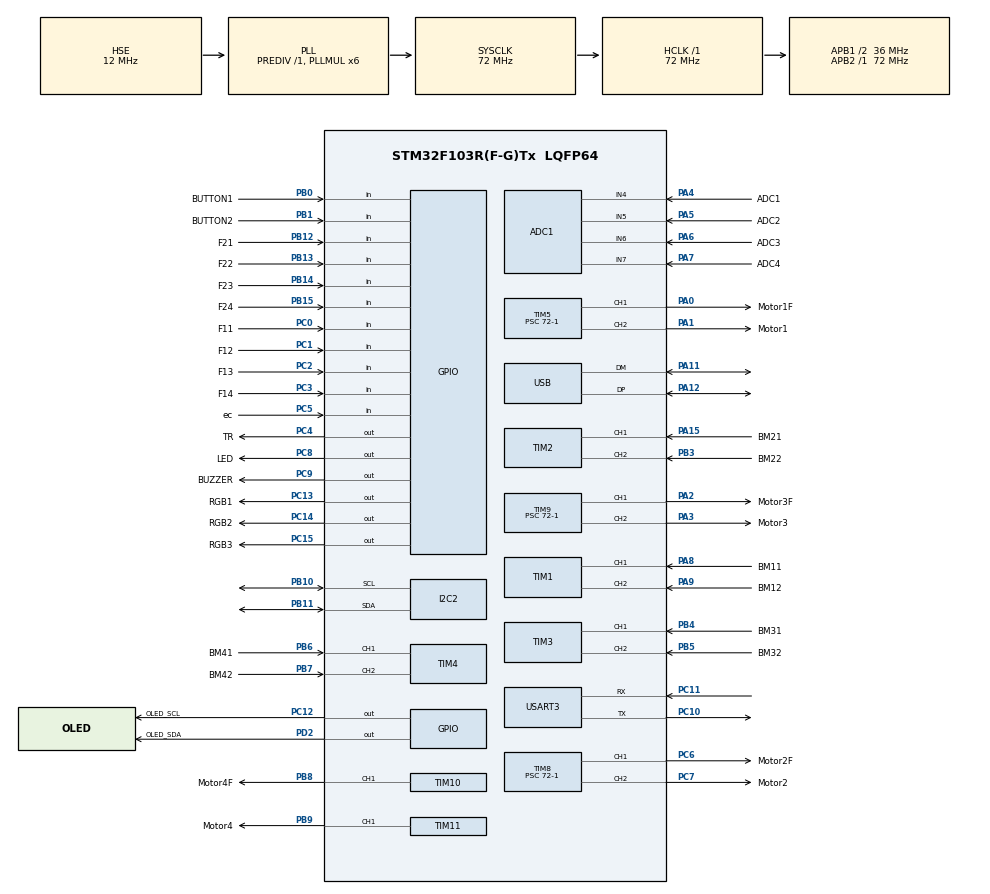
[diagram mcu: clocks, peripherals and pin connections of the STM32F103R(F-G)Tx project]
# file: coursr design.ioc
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ADC1.Channel-5\#ChannelRegularConversion=ADC_CHANNEL_5
ADC1.NbrOfConversionFlag=1
ADC1.Rank-5\#ChannelRegularConversion=1
ADC1.SamplingTime-5\#ChannelRegularConversion=ADC_SAMPLETIME_1CYCLE_5
ADC1.master=1
I2C2.I2C_Mode=I2C_Fast
Mcu.Family=STM32F1
Mcu.Name=STM32F103R(F-G)Tx
Mcu.Package=LQFP64
NVIC.PriorityGroup=NVIC_PRIORITYGROUP_4
NVIC.TIM8_TRG_COM_TIM14_IRQn=true\:0\:0\:false\:false\:true\:true\:true\:true
NVIC.TIM8_UP_TIM13_IRQn=true\:0\:0\:false\:false\:true\:true\:true\:true
PA0-WKUP.GPIO_Label=Motor1F
PA0-WKUP.GPIO_Speed=GPIO_SPEED_FREQ_HIGH
PA0-WKUP.Signal=S_TIM5_CH1
PA1.GPIO_Label=Motor1
PA1.GPIO_Speed=GPIO_SPEED_FREQ_HIGH
PA1.Signal=S_TIM5_CH2
PA11.Mode=Device
PA11.Signal=USB_DM
PA12.Mode=Device
PA12.Signal=USB_DP
PA13.Mode=Serial_Wire
PA13.Signal=SYS_JTMS-SWDIO
PA14.Mode=Serial_Wire
PA14.Signal=SYS_JTCK-SWCLK
PA15.GPIO_Label=BM21
PA15.Signal=S_TIM2_CH1_ETR
PA2.GPIO_Label=Motor3F
PA2.GPIO_Speed=GPIO_SPEED_FREQ_HIGH
PA2.Signal=S_TIM9_CH1
PA3.GPIO_Label=Motor3
PA3.GPIO_Speed=GPIO_SPEED_FREQ_HIGH
PA3.Signal=S_TIM9_CH2
PA4.GPIO_Label=ADC1
PA4.Signal=ADCx_IN4
PA5.GPIO_Label=ADC2
PA5.Signal=ADCx_IN5
PA6.GPIO_Label=ADC3
PA6.Signal=ADCx_IN6
PA7.GPIO_Label=ADC4
PA7.Signal=ADCx_IN7
PA8.GPIO_Label=BM11
PA8.Signal=S_TIM1_CH1
PA9.GPIO_Label=BM12
PA9.Signal=S_TIM1_CH2
PB0.GPIO_Label=BUTTON1
PB0.GPIO_PuPd=GPIO_PULLUP
PB0.Signal=GPIO_Input
PB1.GPIO_Label=BUTTON2
PB1.GPIO_PuPd=GPIO_PULLUP
PB1.Signal=GPIO_Input
PB10.Mode=I2C
PB10.Signal=I2C2_SCL
PB11.Mode=I2C
PB11.Signal=I2C2_SDA
PB12.GPIO_Label=F21
PB12.Signal=GPIO_Input
PB13.GPIO_Label=F22
PB13.Signal=GPIO_Input
PB14.GPIO_Label=F23
PB14.Signal=GPIO_Input
PB15.GPIO_Label=F24
PB15.Signal=GPIO_Input
PB3.GPIO_Label=BM22
PB3.Signal=S_TIM2_CH2
PB4.GPIO_Label=BM31
PB4.Signal=S_TIM3_CH1
PB5.GPIO_Label=BM32
PB5.Signal=S_TIM3_CH2
PB6.GPIO_Label=BM41
PB6.Signal=S_TIM4_CH1
PB7.GPIO_Label=BM42
PB7.Signal=S_TIM4_CH2
PB8.GPIO_Label=Motor4F
PB8.GPIO_Speed=GPIO_SPEED_FREQ_HIGH
PB8.Signal=S_TIM10_CH1
PB9.GPIO_Label=Motor4
PB9.GPIO_Speed=GPIO_SPEED_FREQ_HIGH
PB9.Signal=S_TIM11_CH1
PC0.GPIO_Label=F11
PC0.Signal=GPIO_Input
PC1.GPIO_Label=F12
PC1.Signal=GPIO_Input
PC10.Mode=Asynchronous
PC10.Signal=USART3_TX
PC11.Mode=Asynchronous
PC11.Signal=USART3_RX
PC12.GPIO_Label=OLED_SCL
PC12.GPIO_ModeDefaultOutputPP=GPIO_MODE_OUTPUT_OD
PC12.GPIO_PuPd=GPIO_NOPULL
PC12.Signal=GPIO_Output
PC13-TAMPER-RTC.GPIO_Label=RGB1
PC13-TAMPER-RTC.PinState=GPIO_PIN_SET
PC13-TAMPER-RTC.Signal=GPIO_Output
PC14-OSC32_IN.GPIO_Label=RGB2
PC14-OSC32_IN.PinState=GPIO_PIN_SET
PC14-OSC32_IN.Signal=GPIO_Output
PC15-OSC32_OUT.GPIO_Label=RGB3
PC15-OSC32_OUT.PinState=GPIO_PIN_SET
PC15-OSC32_OUT.Signal=GPIO_Output
PC2.GPIO_Label=F13
PC2.Signal=GPIO_Input
PC3.GPIO_Label=F14
PC3.Signal=GPIO_Input
PC4.GPIO_Label=TR
PC4.Signal=GPIO_Output
PC5.GPIO_Label=ec
PC5.Signal=GPIO_Input
PC6.GPIO_Label=Motor2F
PC6.GPIO_Speed=GPIO_SPEED_FREQ_HIGH
PC6.Signal=S_TIM8_CH1
PC7.GPIO_Label=Motor2
PC7.GPIO_Speed=GPIO_SPEED_FREQ_HIGH
PC7.Signal=S_TIM8_CH2
PC8.GPIO_Label=LED
PC8.Signal=GPIO_Output
PC9.GPIO_Label=BUZZER
PC9.Signal=GPIO_Output
PD0-OSC_IN.Mode=HSE-External-Oscillator
PD0-OSC_IN.Signal=RCC_OSC_IN
PD1-OSC_OUT.Mode=HSE-External-Oscillator
PD1-OSC_OUT.Signal=RCC_OSC_OUT
PD2.GPIO_Label=OLED_SDA
PD2.GPIO_ModeDefaultOutputPP=GPIO_MODE_OUTPUT_OD
PD2.GPIO_PuPd=GPIO_NOPULL
PD2.Signal=GPIO_Output
ProjectManager.HeapSize=0x200
ProjectManager.StackSize=0x400
ProjectManager.TargetToolchain=MDK-ARM V5.32
RCC.ADCPresc=RCC_ADCPCLK2_DIV6
RCC.AHBFreq_Value=72000000
RCC.APB1CLKDivider=RCC_HCLK_DIV2
RCC.APB1Freq_Value=36000000
RCC.APB1TimFreq_Value=72000000
RCC.APB2Freq_Value=72000000
RCC.APB2TimFreq_Value=72000000
RCC.HCLKFreq_Value=72000000
RCC.HSE_VALUE=12000000
RCC.PLLMUL=RCC_PLL_MUL6
RCC.SYSCLKFreq_VALUE=72000000
RCC.SYSCLKSource=RCC_SYSCLKSOURCE_PLLCLK
RCC.USBFreq_Value=48000000
RCC.USBPrescaler=RCC_USBCLKSOURCE_PLL_DIV1_5
SH.ADCx_IN4.0=ADC1_IN4,IN4
SH.ADCx_IN5.0=ADC1_IN5,IN5
SH.ADCx_IN6.0=ADC1_IN6,IN6
SH.ADCx_IN7.0=ADC1_IN7,IN7
SH.S_TIM10_CH1.0=TIM10_CH1,PWM Generation1 CH1
SH.S_TIM11_CH1.0=TIM11_CH1,PWM Generation1 CH1
SH.S_TIM1_CH1.0=TIM1_CH1,Encoder_Interface
SH.S_TIM1_CH2.0=TIM1_CH2,Encoder_Interface
SH.S_TIM2_CH1_ETR.0=TIM2_CH1,Encoder_Interface
SH.S_TIM2_CH2.0=TIM2_CH2,Encoder_Interface
SH.S_TIM3_CH1.0=TIM3_CH1,Encoder_Interface
SH.S_TIM3_CH2.0=TIM3_CH2,Encoder_Interface
SH.S_TIM4_CH1.0=TIM4_CH1,Encoder_Interface
SH.S_TIM4_CH2.0=TIM4_CH2,Encoder_Interface
SH.S_TIM5_CH1.0=TIM5_CH1,PWM Generation1 CH1
SH.S_TIM5_CH2.0=TIM5_CH2,PWM Generation2 CH2
SH.S_TIM8_CH1.0=TIM8_CH1,PWM Generation1 CH1
SH.S_TIM8_CH2.0=TIM8_CH2,PWM Generation2 CH2
SH.S_TIM9_CH1.0=TIM9_CH1,PWM Generation1 CH1
SH.S_TIM9_CH2.0=TIM9_CH2,PWM Generation2 CH2
TIM10.Channel=TIM_CHANNEL_1
TIM10.Period=1000-1
TIM10.Prescaler=72-1
TIM11.Channel=TIM_CHANNEL_1
TIM11.Period=1000-1
TIM11.Prescaler=72-1
TIM13.Period=10000-1
TIM13.Prescaler=72-1
TIM5.Channel-PWM\ Generation1\ CH1=TIM_CHANNEL_1
TIM5.Channel-PWM\ Generation2\ CH2=TIM_CHANNEL_2
TIM5.Period=1000-1
TIM5.Prescaler=72-1
TIM8.Channel-PWM\ Generation1\ CH1=TIM_CHANNEL_1
TIM8.Channel-PWM\ Generation2\ CH2=TIM_CHANNEL_2
TIM8.Period=1000-1
TIM8.Prescaler=72-1
TIM9.Channel-PWM\ Generation1\ CH1=TIM_CHANNEL_1
TIM9.Channel-PWM\ Generation2\ CH2=TIM_CHANNEL_2
TIM9.Period=1000-1
TIM9.Prescaler=72-1
USART3.VirtualMode=VM_ASYNC
VP_TIM10_VS_ClockSourceINT.Mode=Enable_Timer
VP_TIM11_VS_ClockSourceINT.Mode=Enable_Timer
VP_TIM13_VS_ClockSourceINT.Mode=Enable_Timer
board=custom

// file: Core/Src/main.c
/* USER CODE BEGIN Header */
/**
  ******************************************************************************
  * @file           : main.c
  * @brief          : Main program body
  ******************************************************************************
  * @attention
  *
  * Copyright (c) 2025 STMicroelectronics.
  * All rights reserved.
  *
  * This software is licensed under terms that can be found in the LICENSE file
  * in the root directory of this software component.
  * If no LICENSE file comes with this software, it is provided AS-IS.
  *
  ******************************************************************************
  */
/* USER CODE END Header */
#include "main.h"

/* USER CODE BEGIN Includes */
#include "OLED.h"
#include "OLEDMenu.h"
#include "MotorClass.h"
#include "colorRe.h"
#include "rgb.h"
#include "button.h"
#include "trailing.h"
#include "project_exit.h"

/* USER CODE END Includes */

/* USER CODE BEGIN PTD */
void task_trailing_1straight(void);
void task_trailing_2straight(void);
void task_turn_left(void);
void task_turn_back(void);
typedef enum {
    STATE_WAIT_SW1,
    STATE_WAIT_GREEN,
    STATE_MOVING,
	STATE_TURNTOLEFT,
    STATE_TURNBACK,
    STATE_WAIT_RED,
    STATE_RETURNING,
	  STATE_OVER
} DeliveryState;
/* USER CODE END PTD */

ADC_HandleTypeDef hadc1;

I2C_HandleTypeDef hi2c2;

TIM_HandleTypeDef htim1;
TIM_HandleTypeDef htim2;
TIM_HandleTypeDef htim3;
TIM_HandleTypeDef htim4;
TIM_HandleTypeDef htim5;
TIM_HandleTypeDef htim8;
TIM_HandleTypeDef htim9;
TIM_HandleTypeDef htim10;
TIM_HandleTypeDef htim11;
TIM_HandleTypeDef htim13;

UART_HandleTypeDef huart3;

PCD_HandleTypeDef hpcd_USB_FS;

/* USER CODE BEGIN PV */
DeliveryState deliveryState = STATE_WAIT_SW1;
static double __time = 0;

static uint8_t green_blink_flag = 0;  // 闪烁状态标志
static double blink_timer = 0;        // 闪烁计时器
static uint8_t errorleft = 0;
/* USER CODE END PV */

void SystemClock_Config(void);
static void MX_GPIO_Init(void);
static void MX_ADC1_Init(void);
static void MX_I2C2_Init(void);
static void MX_TIM1_Init(void);
static void MX_TIM2_Init(void);
static void MX_TIM3_Init(void);
static void MX_TIM4_Init(void);
static void MX_TIM5_Init(void);
static void MX_TIM8_Init(void);
static void MX_TIM9_Init(void);
static void MX_TIM10_Init(void);
static void MX_TIM11_Init(void);
static void MX_USART3_UART_Init(void);
static void MX_USB_PCD_Init(void);
static void MX_TIM13_Init(void);

/* USER CODE BEGIN 0 */
void motorlist_init(MotorClass * motorlist[4])
{
	MotorClass ** motorlist_it = motorlist;
	MotorClass * motor1 = *motorlist_it;motorlist_it++;
	MotorClass * motor2 = *motorlist_it;motorlist_it++;
	MotorClass * motor3 = *motorlist_it;motorlist_it++;
	MotorClass * motor4 = *motorlist_it;
	motorlist_it = motorlist;
	*motorlist_it = motor1;motorlist_it++;
	*motorlist_it = motor2;motorlist_it++;
	*motorlist_it = motor3;motorlist_it++;
	*motorlist_it = motor4;
	motor_init(motorlist);

	motor1->kP = 0.9f;
	motor1->kI = 0.0f;
	motor1->kD = 0.2f;
	motor1->arr = 1000;
	motor1->motor_tim_1 = &htim5;
	motor1->motor_tim_ch_1 = TIM_CHANNEL_1;
	motor1->motor_tim_2 = &htim5;
	motor1->motor_tim_ch_2 = TIM_CHANNEL_2;
	motor1->motor_encoder_tim = &htim1;

	motor2->kP = 0.8f;
	motor2->kI = 0.0f;
	motor2->kD = 0.3f;
	motor2->arr = 1000;
	motor2->motor_tim_1 = &htim8;
	motor2->motor_tim_ch_1 = TIM_CHANNEL_1;
	motor2->motor_tim_2 = &htim8;
	motor2->motor_tim_ch_2 = TIM_CHANNEL_2;
	motor2->motor_encoder_tim = &htim2;

	motor3->kP = 0.8f;
	motor3->kI = 0.0f;
	motor3->kD = 0.1f;
	motor3->arr = 1000;
	motor3->motor_tim_1 = &htim9;
	motor3->motor_tim_ch_1 = TIM_CHANNEL_1;
	motor3->motor_tim_2 = &htim9;
	motor3->motor_tim_ch_2 = TIM_CHANNEL_2;
	motor3->motor_encoder_tim = &htim3;

	motor4->kP = 0.98f;
	motor4->kI = 0.01f;
	motor4->kD = 0.2f;
	motor4->arr = 1000;
	motor4->motor_tim_1 = &htim10;
	motor4->motor_tim_ch_1 = TIM_CHANNEL_1;
	motor4->motor_tim_2 = &htim11;
	motor4->motor_tim_ch_2 = TIM_CHANNEL_1;
	motor4->motor_encoder_tim = &htim4;

}

CarClass car;

	MotorClass motor1;
	MotorClass motor2;
	MotorClass motor3;
	MotorClass motor4;

//电机迭代器
	MotorClass ** motorlist_it;
	MotorClass * motorlist[4] = {&motor1,&motor2,&motor3,&motor4};

	float target_speed[4] = {5,5,-5,-5};

	TrailingClass pathFinding1;
	TrailingClass pathFinging2;

	ButtonClass button_1;
	ButtonState button_1_state = Button_Pressed;

	uint8_t max(uint8_t a,uint8_t b)
	{
		return a > b?a:b;
	}

/* USER CODE END 0 */

int main(void)
{

  /* MCU Configuration--------------------------------------------------------*/

  /* Reset of all peripherals, Initializes the Flash interface and the Systick. */
  HAL_Init();

  /* Configure the system clock */
  SystemClock_Config();

  /* Initialize all configured peripherals */
  MX_GPIO_Init();
  MX_ADC1_Init();
  MX_I2C2_Init();
  MX_TIM1_Init();
  MX_TIM2_Init();
  MX_TIM3_Init();
  MX_TIM4_Init();
  MX_TIM5_Init();
  MX_TIM8_Init();
  MX_TIM9_Init();
  MX_TIM10_Init();
  MX_TIM11_Init();
  MX_USART3_UART_Init();
  MX_USB_PCD_Init();
  MX_TIM13_Init();
  /* USER CODE BEGIN 2 */
  HAL_Delay(200);
  HAL_TIM_PWM_Start(&htim5,TIM_CHANNEL_1);
  HAL_TIM_PWM_Start(&htim5,TIM_CHANNEL_2);
  HAL_TIM_PWM_Start(&htim8,TIM_CHANNEL_1);
  HAL_TIM_PWM_Start(&htim8,TIM_CHANNEL_2);
  HAL_TIM_PWM_Start(&htim9,TIM_CHANNEL_1);
  HAL_TIM_PWM_Start(&htim9,TIM_CHANNEL_2);
  HAL_TIM_PWM_Start(&htim10,TIM_CHANNEL_1);
  HAL_TIM_PWM_Start(&htim11,TIM_CHANNEL_1);

  HAL_TIM_Encoder_Start(&htim1,TIM_CHANNEL_1);
  HAL_TIM_Encoder_Start(&htim1,TIM_CHANNEL_2);
  HAL_TIM_Encoder_Start(&htim2,TIM_CHANNEL_1);
  HAL_TIM_Encoder_Start(&htim2,TIM_CHANNEL_2);
  HAL_TIM_Encoder_Start(&htim3,TIM_CHANNEL_2);
  HAL_TIM_Encoder_Start(&htim3,TIM_CHANNEL_1);
  HAL_TIM_Encoder_Start(&htim4,TIM_CHANNEL_1);
  HAL_TIM_Encoder_Start(&htim4,TIM_CHANNEL_2);

	HAL_GPIO_WritePin(RGB1_GPIO_Port,RGB1_Pin|RGB2_Pin|RGB3_Pin,GPIO_PIN_SET);
	OLED_Init(&hi2c2);

	//初始化4电机
	trailing_init(&pathFinding1,GPIOB,GPIO_PIN_12,GPIOB,GPIO_PIN_13,GPIOB,GPIO_PIN_14,GPIOB,GPIO_PIN_15);
	trailing_init(&pathFinging2,GPIOC,GPIO_PIN_0,GPIOC,GPIO_PIN_1,GPIOC,GPIO_PIN_2,GPIOC,GPIO_PIN_3);
	motorlist_init(motorlist);

	//电机设定速度

	OLED_ShowWelcomeMenu(&hi2c2);
	HAL_Delay(1000);
	OLED_Clear(&hi2c2);

	car.Vw = 0;
	car.Vx = 0;
	car.Vy = 0;

	CarClass car_result;
	TCS34725_Init(&hi2c2);
	TCS34725_Enable(&hi2c2);
	COLOR_RGBC rgb;
	button_init(&button_1,BUTTON1_GPIO_Port,BUTTON1_Pin,1000);
//	button_1.button_pin = ;
//	button_1.button_port = ;

	HAL_TIM_Base_Start_IT(&htim13);

	RGBClass LED; // 声明RGB对象
    RGB_init(&LED,RGB1_GPIO_Port,RGB1_Pin,RGB2_GPIO_Port,RGB2_Pin,RGB3_GPIO_Port,RGB3_Pin);

	for(int i=0; i<6; i++){
        HAL_GPIO_TogglePin(BUZZER_GPIO_Port,BUZZER_Pin);
		HAL_Delay(100);
    }

    double _time = 0;
    static uint8_t middleline_times = 0;

  /* USER CODE END 2 */

  /* Infinite loop */
  while (1)
  {

    /* USER CODE BEGIN 3 */
	 switch (deliveryState) {
		 case STATE_WAIT_SW1:
		{
			OLED_ShowWelcomeMenu(&hi2c2);
		}
			break;
		 case STATE_WAIT_GREEN:
		 {
			 if(TCS34725_GetRawData(&hi2c2,&rgb))
			 {
					uint8_t max_color = max(max(rgb.r,rgb.g),rgb.b);
					if(max_color > 200){
					if(max_color == rgb.g)
					{
							LED.rgb_light = GREEN_LIGHT; // 设置颜色为绿色
							LED.setRGB(&LED);
							//设置rgb颜色为绿色
						deliveryState = STATE_MOVING;
					}
				 }
			 }
		 }
			break;
		 case STATE_MOVING:
		 {
			 if(__time - blink_timer > 0.2)
				{
        green_blink_flag = !green_blink_flag;
        blink_timer = __time;
        // 设置闪烁效果
        if(green_blink_flag) {

          LED.rgb_light = GREEN_LIGHT;
        }
				else
				{
          LED.rgb_light = 7;
        }
        LED.setRGB(&LED);
       }
			if ((pathFinding1.x1_state == 0 && pathFinding1.x2_state == 0 && pathFinding1.x3_state == 0 )||(pathFinding1.x1_state == 0 && pathFinding1.x2_state == 0 && pathFinding1.x4_state == 0 )||(pathFinding1.x1_state == 0 && pathFinding1.x4_state == 0 && pathFinding1.x3_state == 0 )
		           ||(pathFinding1.x4_state == 0 && pathFinding1.x2_state == 0 && pathFinding1.x3_state == 0 )||(pathFinding1.x1_state == 0 && pathFinding1.x2_state == 0 && pathFinding1.x3_state == 0 && pathFinding1.x4_state == 0))
			{

				car.Vw = 0;
				car.Vx = 0;
				car.Vy = 0;

				if( middleline_times == 0)
				{
					car.Vw = 0;
				  car.Vx = 10;
			  	car.Vy = 0;
				  _time = __time;
				  while(__time < _time+0.5);
					deliveryState = STATE_MOVING;
					middleline_times = 1;
				}
				else if(middleline_times < 5)
				{
					car.Vw = 0;
				  car.Vx = 10;
			  	car.Vy = 0;
				  _time = __time;
				  while(__time < _time+0.5);
					car.Vw = 0;
				  car.Vx = 0;
			  	car.Vy = 0;
				  _time = __time;
				  while(__time < _time+0.3);
					middleline_times += 1;

					deliveryState = STATE_TURNTOLEFT;
				}
				else if(middleline_times == 5)
				{
					deliveryState = STATE_RETURNING;
					middleline_times = 0;
				}
			}
			else if (get_distance_cm_nT(TR_GPIO_Port,TR_Pin) <= 10 )
			{
				car.Vw = 0;
				car.Vx = 0;
				car.Vy = 0;
				deliveryState = STATE_WAIT_RED;
			}
			else
              task_trailing_1straight();
         }
			break;
    case STATE_TURNTOLEFT:
    {
			LED.rgb_light = MAGENTA_LIGHT;
      LED.setRGB(&LED);
      task_turn_left();
    }
      break;
    case STATE_WAIT_RED:
    {
      LED.rgb_light = RED_LIGHT;
      LED.setRGB(&LED);
      if(TCS34725_GetRawData(&hi2c2,&rgb))
      {
        uint8_t max_color = max(max(rgb.r,rgb.g),rgb.b);
        if(max_color > 200){
          if(max_color == rgb.r)
          {
            LED.rgb_light = YELLOW_LIGHT;
            LED.setRGB(&LED);
            deliveryState = STATE_TURNBACK;
          }
        }
      }
    }
      break;
    case STATE_TURNBACK:
	 {
		task_turn_back();

	 }
		break;
	case STATE_RETURNING:
	{
		car.Vw = 0;
        car.Vx = 10;
        car.Vy = 0;
		_time = __time;
		while(__time < _time+1.15);

				car.Vw = 0.7;
        car.Vx = 0;
        car.Vy = 0;
		_time = __time;
		while(__time < _time+2.25);

		car.Vw = 0;
        car.Vx = 0;
        car.Vy = 0;
		LED.rgb_light = BLUE_LIGHT;
        LED.setRGB(&LED);
		deliveryState = STATE_OVER;
	}
	    break;
	case STATE_OVER:
	{
		HAL_TIM_Base_Stop_IT(&htim13);
	}
	break;
	 }

    OLED_ShowRunMenu(&hi2c2,car_result.Vx,car_result.Vy,car_result.Vw,get_distance_cm_nT(TR_GPIO_Port,TR_Pin),(uint32_t)__time,middleline_times);

  }
  /* USER CODE END 3 */
}

void SystemClock_Config(void)
{
  RCC_OscInitTypeDef RCC_OscInitStruct = {0};
  RCC_ClkInitTypeDef RCC_ClkInitStruct = {0};
  RCC_PeriphCLKInitTypeDef PeriphClkInit = {0};

  /** Initializes the RCC Oscillators according to the specified parameters
  * in the RCC_OscInitTypeDef structure.
  */
  RCC_OscInitStruct.OscillatorType = RCC_OSCILLATORTYPE_HSE;
  RCC_OscInitStruct.HSEState = RCC_HSE_ON;
  RCC_OscInitStruct.HSEPredivValue = RCC_HSE_PREDIV_DIV1;
  RCC_OscInitStruct.HSIState = RCC_HSI_ON;
  RCC_OscInitStruct.PLL.PLLState = RCC_PLL_ON;
  RCC_OscInitStruct.PLL.PLLSource = RCC_PLLSOURCE_HSE;
  RCC_OscInitStruct.PLL.PLLMUL = RCC_PLL_MUL6;
  if (HAL_RCC_OscConfig(&RCC_OscInitStruct) != HAL_OK)
  {
    Error_Handler();
  }

  /** Initializes the CPU, AHB and APB buses clocks
  */
  RCC_ClkInitStruct.ClockType = RCC_CLOCKTYPE_HCLK|RCC_CLOCKTYPE_SYSCLK
                              |RCC_CLOCKTYPE_PCLK1|RCC_CLOCKTYPE_PCLK2;
  RCC_ClkInitStruct.SYSCLKSource = RCC_SYSCLKSOURCE_PLLCLK;
  RCC_ClkInitStruct.AHBCLKDivider = RCC_SYSCLK_DIV1;
  RCC_ClkInitStruct.APB1CLKDivider = RCC_HCLK_DIV2;
  RCC_ClkInitStruct.APB2CLKDivider = RCC_HCLK_DIV1;

  if (HAL_RCC_ClockConfig(&RCC_ClkInitStruct, FLASH_LATENCY_2) != HAL_OK)
  {
    Error_Handler();
  }
  PeriphClkInit.PeriphClockSelection = RCC_PERIPHCLK_ADC|RCC_PERIPHCLK_USB;
  PeriphClkInit.AdcClockSelection = RCC_ADCPCLK2_DIV6;
  PeriphClkInit.UsbClockSelection = RCC_USBCLKSOURCE_PLL_DIV1_5;
  if (HAL_RCCEx_PeriphCLKConfig(&PeriphClkInit) != HAL_OK)
  {
    Error_Handler();
  }
}

static void MX_ADC1_Init(void)
{

  ADC_ChannelConfTypeDef sConfig = {0};

  /** Common config
  */
  hadc1.Instance = ADC1;
  hadc1.Init.ScanConvMode = ADC_SCAN_DISABLE;
  hadc1.Init.ContinuousConvMode = DISABLE;
  hadc1.Init.DiscontinuousConvMode = DISABLE;
  hadc1.Init.ExternalTrigConv = ADC_SOFTWARE_START;
  hadc1.Init.DataAlign = ADC_DATAALIGN_RIGHT;
  hadc1.Init.NbrOfConversion = 1;
  if (HAL_ADC_Init(&hadc1) != HAL_OK)
  {
    Error_Handler();
  }

  /** Configure Regular Channel
  */
  sConfig.Channel = ADC_CHANNEL_5;
  sConfig.Rank = ADC_REGULAR_RANK_1;
  sConfig.SamplingTime = ADC_SAMPLETIME_1CYCLE_5;
  if (HAL_ADC_ConfigChannel(&hadc1, &sConfig) != HAL_OK)
  {
    Error_Handler();
  }

}

static void MX_I2C2_Init(void)
{

  hi2c2.Instance = I2C2;
  hi2c2.Init.ClockSpeed = 400000;
  hi2c2.Init.DutyCycle = I2C_DUTYCYCLE_2;
  hi2c2.Init.OwnAddress1 = 0;
  hi2c2.Init.AddressingMode = I2C_ADDRESSINGMODE_7BIT;
  hi2c2.Init.DualAddressMode = I2C_DUALADDRESS_DISABLE;
  hi2c2.Init.OwnAddress2 = 0;
  hi2c2.Init.GeneralCallMode = I2C_GENERALCALL_DISABLE;
  hi2c2.Init.NoStretchMode = I2C_NOSTRETCH_DISABLE;
  if (HAL_I2C_Init(&hi2c2) != HAL_OK)
  {
    Error_Handler();
  }

}

static void MX_TIM1_Init(void)
{

  TIM_Encoder_InitTypeDef sConfig = {0};
  TIM_MasterConfigTypeDef sMasterConfig = {0};

  htim1.Instance = TIM1;
  htim1.Init.Prescaler = 0;
  htim1.Init.CounterMode = TIM_COUNTERMODE_UP;
  htim1.Init.Period = 65535;
  htim1.Init.ClockDivision = TIM_CLOCKDIVISION_DIV1;
  htim1.Init.RepetitionCounter = 0;
  htim1.Init.AutoReloadPreload = TIM_AUTORELOAD_PRELOAD_DISABLE;
  sConfig.EncoderMode = TIM_ENCODERMODE_TI1;
  sConfig.IC1Polarity = TIM_ICPOLARITY_RISING;
  sConfig.IC1Selection = TIM_ICSELECTION_DIRECTTI;
  sConfig.IC1Prescaler = TIM_ICPSC_DIV1;
  sConfig.IC1Filter = 0;
  sConfig.IC2Polarity = TIM_ICPOLARITY_RISING;
  sConfig.IC2Selection = TIM_ICSELECTION_DIRECTTI;
  sConfig.IC2Prescaler = TIM_ICPSC_DIV1;
  sConfig.IC2Filter = 0;
  if (HAL_TIM_Encoder_Init(&htim1, &sConfig) != HAL_OK)
  {
    Error_Handler();
  }
  sMasterConfig.MasterOutputTrigger = TIM_TRGO_RESET;
  sMasterConfig.MasterSlaveMode = TIM_MASTERSLAVEMODE_DISABLE;
  if (HAL_TIMEx_MasterConfigSynchronization(&htim1, &sMasterConfig) != HAL_OK)
  {
    Error_Handler();
  }

}

static void MX_TIM2_Init(void)
{

  TIM_Encoder_InitTypeDef sConfig = {0};
  TIM_MasterConfigTypeDef sMasterConfig = {0};

  htim2.Instance = TIM2;
  htim2.Init.Prescaler = 0;
  htim2.Init.CounterMode = TIM_COUNTERMODE_UP;
  htim2.Init.Period = 65535;
  htim2.Init.ClockDivision = TIM_CLOCKDIVISION_DIV1;
  htim2.Init.AutoReloadPreload = TIM_AUTORELOAD_PRELOAD_DISABLE;
  sConfig.EncoderMode = TIM_ENCODERMODE_TI1;
  sConfig.IC1Polarity = TIM_ICPOLARITY_RISING;
  sConfig.IC1Selection = TIM_ICSELECTION_DIRECTTI;
  sConfig.IC1Prescaler = TIM_ICPSC_DIV1;
  sConfig.IC1Filter = 0;
  sConfig.IC2Polarity = TIM_ICPOLARITY_RISING;
  sConfig.IC2Selection = TIM_ICSELECTION_DIRECTTI;
  sConfig.IC2Prescaler = TIM_ICPSC_DIV1;
  sConfig.IC2Filter = 0;
  if (HAL_TIM_Encoder_Init(&htim2, &sConfig) != HAL_OK)
  {
    Error_Handler();
  }
  sMasterConfig.MasterOutputTrigger = TIM_TRGO_RESET;
  sMasterConfig.MasterSlaveMode = TIM_MASTERSLAVEMODE_DISABLE;
  if (HAL_TIMEx_MasterConfigSynchronization(&htim2, &sMasterConfig) != HAL_OK)
  {
    Error_Handler();
  }

}

static void MX_TIM3_Init(void)
{

  TIM_Encoder_InitTypeDef sConfig = {0};
  TIM_MasterConfigTypeDef sMasterConfig = {0};

  htim3.Instance = TIM3;
  htim3.Init.Prescaler = 0;
  htim3.Init.CounterMode = TIM_COUNTERMODE_UP;
  htim3.Init.Period = 65535;
  htim3.Init.ClockDivision = TIM_CLOCKDIVISION_DIV1;
  htim3.Init.AutoReloadPreload = TIM_AUTORELOAD_PRELOAD_DISABLE;
  sConfig.EncoderMode = TIM_ENCODERMODE_TI1;
  sConfig.IC1Polarity = TIM_ICPOLARITY_RISING;
  sConfig.IC1Selection = TIM_ICSELECTION_DIRECTTI;
  sConfig.IC1Prescaler = TIM_ICPSC_DIV1;
  sConfig.IC1Filter = 0;
  sConfig.IC2Polarity = TIM_ICPOLARITY_RISING;
  sConfig.IC2Selection = TIM_ICSELECTION_DIRECTTI;
  sConfig.IC2Prescaler = TIM_ICPSC_DIV1;
  sConfig.IC2Filter = 0;
  if (HAL_TIM_Encoder_Init(&htim3, &sConfig) != HAL_OK)
  {
    Error_Handler();
  }
  sMasterConfig.MasterOutputTrigger = TIM_TRGO_RESET;
  sMasterConfig.MasterSlaveMode = TIM_MASTERSLAVEMODE_DISABLE;
  if (HAL_TIMEx_MasterConfigSynchronization(&htim3, &sMasterConfig) != HAL_OK)
  {
    Error_Handler();
  }

}

static void MX_TIM4_Init(void)
{

  TIM_Encoder_InitTypeDef sConfig = {0};
  TIM_MasterConfigTypeDef sMasterConfig = {0};

  htim4.Instance = TIM4;
  htim4.Init.Prescaler = 0;
  htim4.Init.CounterMode = TIM_COUNTERMODE_UP;
  htim4.Init.Period = 65535;
  htim4.Init.ClockDivision = TIM_CLOCKDIVISION_DIV1;
  htim4.Init.AutoReloadPreload = TIM_AUTORELOAD_PRELOAD_DISABLE;
  sConfig.EncoderMode = TIM_ENCODERMODE_TI1;
  sConfig.IC1Polarity = TIM_ICPOLARITY_RISING;
  sConfig.IC1Selection = TIM_ICSELECTION_DIRECTTI;
  sConfig.IC1Prescaler = TIM_ICPSC_DIV1;
  sConfig.IC1Filter = 0;
  sConfig.IC2Polarity = TIM_ICPOLARITY_RISING;
  sConfig.IC2Selection = TIM_ICSELECTION_DIRECTTI;
  sConfig.IC2Prescaler = TIM_ICPSC_DIV1;
  sConfig.IC2Filter = 0;
  if (HAL_TIM_Encoder_Init(&htim4, &sConfig) != HAL_OK)
  {
    Error_Handler();
  }
  sMasterConfig.MasterOutputTrigger = TIM_TRGO_RESET;
  sMasterConfig.MasterSlaveMode = TIM_MASTERSLAVEMODE_DISABLE;
  if (HAL_TIMEx_MasterConfigSynchronization(&htim4, &sMasterConfig) != HAL_OK)
  {
    Error_Handler();
  }

}

static void MX_TIM5_Init(void)
{

  TIM_MasterConfigTypeDef sMasterConfig = {0};
  TIM_OC_InitTypeDef sConfigOC = {0};

  htim5.Instance = TIM5;
  htim5.Init.Prescaler = 72-1;
  htim5.Init.CounterMode = TIM_COUNTERMODE_UP;
  htim5.Init.Period = 1000-1;
  htim5.Init.ClockDivision = TIM_CLOCKDIVISION_DIV1;
  htim5.Init.AutoReloadPreload = TIM_AUTORELOAD_PRELOAD_DISABLE;
  if (HAL_TIM_PWM_Init(&htim5) != HAL_OK)
  {
    Error_Handler();
  }
  sMasterConfig.MasterOutputTrigger = TIM_TRGO_RESET;
  sMasterConfig.MasterSlaveMode = TIM_MASTERSLAVEMODE_DISABLE;
  if (HAL_TIMEx_MasterConfigSynchronization(&htim5, &sMasterConfig) != HAL_OK)
  {
    Error_Handler();
  }
  sConfigOC.OCMode = TIM_OCMODE_PWM1;
  sConfigOC.Pulse = 0;
  sConfigOC.OCPolarity = TIM_OCPOLARITY_HIGH;
  sConfigOC.OCFastMode = TIM_OCFAST_DISABLE;
  if (HAL_TIM_PWM_ConfigChannel(&htim5, &sConfigOC, TIM_CHANNEL_1) != HAL_OK)
  {
    Error_Handler();
  }
  if (HAL_TIM_PWM_ConfigChannel(&htim5, &sConfigOC, TIM_CHANNEL_2) != HAL_OK)
  {
    Error_Handler();
  }
  HAL_TIM_MspPostInit(&htim5);

}

static void MX_TIM8_Init(void)
{

  TIM_MasterConfigTypeDef sMasterConfig = {0};
  TIM_OC_InitTypeDef sConfigOC = {0};
  TIM_BreakDeadTimeConfigTypeDef sBreakDeadTimeConfig = {0};

  htim8.Instance = TIM8;
  htim8.Init.Prescaler = 72-1;
  htim8.Init.CounterMode = TIM_COUNTERMODE_UP;
  htim8.Init.Period = 1000-1;
  htim8.Init.ClockDivision = TIM_CLOCKDIVISION_DIV1;
  htim8.Init.RepetitionCounter = 0;
  htim8.Init.AutoReloadPreload = TIM_AUTORELOAD_PRELOAD_DISABLE;
  if (HAL_TIM_PWM_Init(&htim8) != HAL_OK)
  {
    Error_Handler();
  }
  sMasterConfig.MasterOutputTrigger = TIM_TRGO_RESET;
  sMasterConfig.MasterSlaveMode = TIM_MASTERSLAVEMODE_DISABLE;
  if (HAL_TIMEx_MasterConfigSynchronization(&htim8, &sMasterConfig) != HAL_OK)
  {
    Error_Handler();
  }
  sConfigOC.OCMode = TIM_OCMODE_PWM1;
  sConfigOC.Pulse = 0;
  sConfigOC.OCPolarity = TIM_OCPOLARITY_HIGH;
  sConfigOC.OCNPolarity = TIM_OCNPOLARITY_HIGH;
  sConfigOC.OCFastMode = TIM_OCFAST_DISABLE;
  sConfigOC.OCIdleState = TIM_OCIDLESTATE_RESET;
  sConfigOC.OCNIdleState = TIM_OCNIDLESTATE_RESET;
  if (HAL_TIM_PWM_ConfigChannel(&htim8, &sConfigOC, TIM_CHANNEL_1) != HAL_OK)
  {
    Error_Handler();
  }
  if (HAL_TIM_PWM_ConfigChannel(&htim8, &sConfigOC, TIM_CHANNEL_2) != HAL_OK)
  {
    Error_Handler();
  }
  sBreakDeadTimeConfig.OffStateRunMode = TIM_OSSR_DISABLE;
  sBreakDeadTimeConfig.OffStateIDLEMode = TIM_OSSI_DISABLE;
  sBreakDeadTimeConfig.LockLevel = TIM_LOCKLEVEL_OFF;
  sBreakDeadTimeConfig.DeadTime = 0;
  sBreakDeadTimeConfig.BreakState = TIM_BREAK_DISABLE;
  sBreakDeadTimeConfig.BreakPolarity = TIM_BREAKPOLARITY_HIGH;
  sBreakDeadTimeConfig.AutomaticOutput = TIM_AUTOMATICOUTPUT_DISABLE;
  if (HAL_TIMEx_ConfigBreakDeadTime(&htim8, &sBreakDeadTimeConfig) != HAL_OK)
  {
    Error_Handler();
  }
  HAL_TIM_MspPostInit(&htim8);

}

static void MX_TIM9_Init(void)
{

  TIM_OC_InitTypeDef sConfigOC = {0};

  htim9.Instance = TIM9;
  htim9.Init.Prescaler = 72-1;
  htim9.Init.CounterMode = TIM_COUNTERMODE_UP;
  htim9.Init.Period = 1000-1;
  htim9.Init.ClockDivision = TIM_CLOCKDIVISION_DIV1;
  htim9.Init.AutoReloadPreload = TIM_AUTORELOAD_PRELOAD_DISABLE;
  if (HAL_TIM_PWM_Init(&htim9) != HAL_OK)
  {
    Error_Handler();
  }
  sConfigOC.OCMode = TIM_OCMODE_PWM1;
  sConfigOC.Pulse = 0;
  sConfigOC.OCPolarity = TIM_OCPOLARITY_HIGH;
  sConfigOC.OCFastMode = TIM_OCFAST_DISABLE;
  if (HAL_TIM_PWM_ConfigChannel(&htim9, &sConfigOC, TIM_CHANNEL_1) != HAL_OK)
  {
    Error_Handler();
  }
  if (HAL_TIM_PWM_ConfigChannel(&htim9, &sConfigOC, TIM_CHANNEL_2) != HAL_OK)
  {
    Error_Handler();
  }
  HAL_TIM_MspPostInit(&htim9);

}

static void MX_TIM10_Init(void)
{

  TIM_OC_InitTypeDef sConfigOC = {0};

  htim10.Instance = TIM10;
  htim10.Init.Prescaler = 72-1;
  htim10.Init.CounterMode = TIM_COUNTERMODE_UP;
  htim10.Init.Period = 1000-1;
  htim10.Init.ClockDivision = TIM_CLOCKDIVISION_DIV1;
  htim10.Init.AutoReloadPreload = TIM_AUTORELOAD_PRELOAD_DISABLE;
  if (HAL_TIM_Base_Init(&htim10) != HAL_OK)
  {
    Error_Handler();
  }
  if (HAL_TIM_PWM_Init(&htim10) != HAL_OK)
  {
    Error_Handler();
  }
  sConfigOC.OCMode = TIM_OCMODE_PWM1;
  sConfigOC.Pulse = 0;
  sConfigOC.OCPolarity = TIM_OCPOLARITY_HIGH;
  sConfigOC.OCFastMode = TIM_OCFAST_DISABLE;
  if (HAL_TIM_PWM_ConfigChannel(&htim10, &sConfigOC, TIM_CHANNEL_1) != HAL_OK)
  {
    Error_Handler();
  }
  HAL_TIM_MspPostInit(&htim10);

}

static void MX_TIM11_Init(void)
{

  TIM_OC_InitTypeDef sConfigOC = {0};

  htim11.Instance = TIM11;
  htim11.Init.Prescaler = 72-1;
  htim11.Init.CounterMode = TIM_COUNTERMODE_UP;
  htim11.Init.Period = 1000-1;
  htim11.Init.ClockDivision = TIM_CLOCKDIVISION_DIV1;
  htim11.Init.AutoReloadPreload = TIM_AUTORELOAD_PRELOAD_DISABLE;
  if (HAL_TIM_Base_Init(&htim11) != HAL_OK)
  {
    Error_Handler();
  }
  if (HAL_TIM_PWM_Init(&htim11) != HAL_OK)
  {
    Error_Handler();
  }
  sConfigOC.OCMode = TIM_OCMODE_PWM1;
  sConfigOC.Pulse = 0;
  sConfigOC.OCPolarity = TIM_OCPOLARITY_HIGH;
  sConfigOC.OCFastMode = TIM_OCFAST_DISABLE;
  if (HAL_TIM_PWM_ConfigChannel(&htim11, &sConfigOC, TIM_CHANNEL_1) != HAL_OK)
  {
    Error_Handler();
  }
  HAL_TIM_MspPostInit(&htim11);

}

static void MX_TIM13_Init(void)
{

  htim13.Instance = TIM13;
  htim13.Init.Prescaler = 72-1;
  htim13.Init.CounterMode = TIM_COUNTERMODE_UP;
  htim13.Init.Period = 10000-1;
  htim13.Init.ClockDivision = TIM_CLOCKDIVISION_DIV1;
  htim13.Init.AutoReloadPreload = TIM_AUTORELOAD_PRELOAD_DISABLE;
  if (HAL_TIM_Base_Init(&htim13) != HAL_OK)
  {
    Error_Handler();
  }

}

static void MX_USART3_UART_Init(void)
{

  huart3.Instance = USART3;
  huart3.Init.BaudRate = 115200;
  huart3.Init.WordLength = UART_WORDLENGTH_8B;
  huart3.Init.StopBits = UART_STOPBITS_1;
  huart3.Init.Parity = UART_PARITY_NONE;
  huart3.Init.Mode = UART_MODE_TX_RX;
  huart3.Init.HwFlowCtl = UART_HWCONTROL_NONE;
  huart3.Init.OverSampling = UART_OVERSAMPLING_16;
  if (HAL_UART_Init(&huart3) != HAL_OK)
  {
    Error_Handler();
  }

}

static void MX_USB_PCD_Init(void)
{

  hpcd_USB_FS.Instance = USB;
  hpcd_USB_FS.Init.dev_endpoints = 8;
  hpcd_USB_FS.Init.speed = PCD_SPEED_FULL;
  hpcd_USB_FS.Init.low_power_enable = DISABLE;
  hpcd_USB_FS.Init.lpm_enable = DISABLE;
  hpcd_USB_FS.Init.battery_charging_enable = DISABLE;
  if (HAL_PCD_Init(&hpcd_USB_FS) != HAL_OK)
  {
    Error_Handler();
  }

}

static void MX_GPIO_Init(void)
{
  GPIO_InitTypeDef GPIO_InitStruct = {0};

  /* GPIO Ports Clock Enable */
  __HAL_RCC_GPIOC_CLK_ENABLE();
  __HAL_RCC_GPIOD_CLK_ENABLE();
  __HAL_RCC_GPIOA_CLK_ENABLE();
  __HAL_RCC_GPIOB_CLK_ENABLE();

  /*Configure GPIO pin Output Level */
  HAL_GPIO_WritePin(GPIOC, RGB1_Pin|RGB2_Pin|RGB3_Pin, GPIO_PIN_SET);

  /*Configure GPIO pin Output Level */
  HAL_GPIO_WritePin(GPIOC, TR_Pin|LED_Pin|BUZZER_Pin|OLED_SCL_Pin, GPIO_PIN_RESET);

  /*Configure GPIO pin Output Level */
  HAL_GPIO_WritePin(OLED_SDA_GPIO_Port, OLED_SDA_Pin, GPIO_PIN_RESET);

  /*Configure GPIO pins : RGB1_Pin RGB2_Pin RGB3_Pin TR_Pin
                           LED_Pin BUZZER_Pin */
  GPIO_InitStruct.Pin = RGB1_Pin|RGB2_Pin|RGB3_Pin|TR_Pin
                          |LED_Pin|BUZZER_Pin;
  GPIO_InitStruct.Mode = GPIO_MODE_OUTPUT_PP;
  GPIO_InitStruct.Pull = GPIO_NOPULL;
  GPIO_InitStruct.Speed = GPIO_SPEED_FREQ_LOW;
  HAL_GPIO_Init(GPIOC, &GPIO_InitStruct);

  /*Configure GPIO pins : F11_Pin F12_Pin F13_Pin F14_Pin
                           ec_Pin */
  GPIO_InitStruct.Pin = F11_Pin|F12_Pin|F13_Pin|F14_Pin
                          |ec_Pin;
  GPIO_InitStruct.Mode = GPIO_MODE_INPUT;
  GPIO_InitStruct.Pull = GPIO_NOPULL;
  HAL_GPIO_Init(GPIOC, &GPIO_InitStruct);

  /*Configure GPIO pins : BUTTON1_Pin BUTTON2_Pin */
  GPIO_InitStruct.Pin = BUTTON1_Pin|BUTTON2_Pin;
  GPIO_InitStruct.Mode = GPIO_MODE_INPUT;
  GPIO_InitStruct.Pull = GPIO_PULLUP;
  HAL_GPIO_Init(GPIOB, &GPIO_InitStruct);

  /*Configure GPIO pins : F21_Pin F22_Pin F23_Pin F24_Pin */
  GPIO_InitStruct.Pin = F21_Pin|F22_Pin|F23_Pin|F24_Pin;
  GPIO_InitStruct.Mode = GPIO_MODE_INPUT;
  GPIO_InitStruct.Pull = GPIO_NOPULL;
  HAL_GPIO_Init(GPIOB, &GPIO_InitStruct);

  /*Configure GPIO pin : OLED_SCL_Pin */
  GPIO_InitStruct.Pin = OLED_SCL_Pin;
  GPIO_InitStruct.Mode = GPIO_MODE_OUTPUT_OD;
  GPIO_InitStruct.Pull = GPIO_NOPULL;
  GPIO_InitStruct.Speed = GPIO_SPEED_FREQ_LOW;
  HAL_GPIO_Init(OLED_SCL_GPIO_Port, &GPIO_InitStruct);

  /*Configure GPIO pin : OLED_SDA_Pin */
  GPIO_InitStruct.Pin = OLED_SDA_Pin;
  GPIO_InitStruct.Mode = GPIO_MODE_OUTPUT_OD;
  GPIO_InitStruct.Pull = GPIO_NOPULL;
  GPIO_InitStruct.Speed = GPIO_SPEED_FREQ_LOW;
  HAL_GPIO_Init(OLED_SDA_GPIO_Port, &GPIO_InitStruct);

}

/* USER CODE BEGIN 4 */
void HAL_TIM_PeriodElapsedCallback(TIM_HandleTypeDef * htim)
{
	if(htim == &htim13)
	{
		   button_1.button_scan(&button_1);
			 if (button_1.button_state==button_1_state)
			 {
				 deliveryState = STATE_WAIT_GREEN;
				 HAL_GPIO_TogglePin(LED_GPIO_Port,LED_Pin);
			 }
		  car_speed_to_motor_speed(&car,motorlist);
		  target_speed[0] = motor1.motor_speed_target;
		  target_speed[1] = motor2.motor_speed_target;
		  target_speed[2] = motor3.motor_speed_target;
		  target_speed[3] = motor4.motor_speed_target;
		  motor_control_AllInOne(motorlist,target_speed);
		  pathFinding1.Trailing_scan(&pathFinding1);
		  __time += 0.01;
	}

}

void task_trailing_1straight(void)
{
	 if((pathFinding1.x2_state==0)&&(pathFinding1.x3_state==0))
			 {
				 car.Vw = 0;
				 car.Vx = 13;
				 car.Vy = 0;
				 return;
			 }
			 else if(pathFinding1.x1_state==0)
			 {
//				 car.Vw = -0;
//				 car.Vx = 10;
//				 car.Vy = -5;
				 car.Vw = 0.3;
				 car.Vx = 10;
				 car.Vy = 0;
				 pathFinding1.x1_last_state = 0;
				  pathFinding1.x2_last_state=0;
				 return;
			 }
			 else if(pathFinding1.x4_state==0)
			 {
			   car.Vw = -0.3;
				 car.Vx = 10;
				 car.Vy = 0;
				 pathFinding1.x4_last_state = 0;
				 pathFinding1.x3_last_state = 0;
				 return;
			 }
			 else if((pathFinding1.x1_state==1)&&(pathFinding1.x2_state==1)&&(pathFinding1.x3_state==1)&&(pathFinding1.x4_state==1))
			 {
				 if(pathFinding1.x1_last_state == 0 || pathFinding1.x2_last_state==0)
				 {
					 car.Vw = 0.3;
					 car.Vx = 10;
					 car.Vy = 0;
					 pathFinding1.x1_last_state = 1;
					 return;
				 }
				else if(pathFinding1.x3_last_state==0 || pathFinding1.x4_last_state==0)
			     {
					 car.Vw = -0.3;
					 car.Vx = 10;
					 car.Vy = 0;
					 pathFinding1.x4_last_state = 1;
					 return;
			     }
				 else
				 {
					 car.Vw = 0;
					 car.Vx = 13;
					 car.Vy = 0;
					 return;
				 }

			 }
}
void task_turn_left(void)
{
	static uint8_t left = 0;
	static uint8_t turn = 0;
	if(pathFinding1.x2_state == 1 && pathFinding1.x3_state == 1 && pathFinding1.x1_state == 1 && pathFinding1.x4_state == 1)
		left = 1;
	if((pathFinding1.x2_state == 1 && pathFinding1.x3_state == 1 && pathFinding1.x1_state == 0 && pathFinding1.x4_state == 1) && left == 1)
	  turn = 1;
	else
	{
		car.Vw = 0.5;
        car.Vx = 0;
        car.Vy = 0;
	}
	if( pathFinding1.x2_state == 0  && turn)
	{
		deliveryState = STATE_MOVING;
		turn = 0;
		left = 0;
	}
      else
      {
        car.Vw = 0.5;
        car.Vx = 0;
        car.Vy = 0;
      }

}

void task_turn_back(void)
{
	static uint8_t turn = 0;
	static uint8_t back = 0;
	if(pathFinding1.x2_state == 1 && pathFinding1.x3_state == 1 && pathFinding1.x1_state == 1 && pathFinding1.x4_state == 0)
	  turn = 1;
	if((pathFinding1.x2_state == 1 && pathFinding1.x3_state == 1 && pathFinding1.x1_state == 1 && pathFinding1.x4_state == 1) && turn == 1)
	  turn = 2;
	if((pathFinding1.x2_state == 1 && pathFinding1.x3_state == 1 && pathFinding1.x1_state == 0 && pathFinding1.x4_state == 1) && turn == 2)
	  back = 1;
	else
	{
		    car.Vw = 0.5;
        car.Vx = 0;
        car.Vy = 0;
	}
    if( ( pathFinding1.x2_state == 0) && ( pathFinding1.x3_state == 0) && back==1)
    {
      deliveryState = STATE_MOVING;
		  turn = 0;
			back = 0;
    }
    else
    {
	    car.Vw = 0.5;
		  car.Vx = 0;
		  car.Vy = 0;
    }
}

/* USER CODE END 4 */

void Error_Handler(void)
{
  __disable_irq();
  while (1)
  {
  }
}
